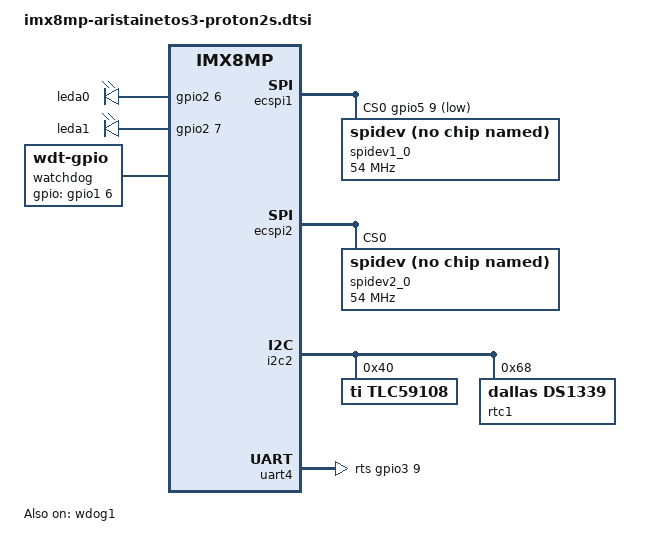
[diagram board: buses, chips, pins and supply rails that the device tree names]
// SPDX-License-Identifier: (GPL-2.0+ OR MIT)
/*
 * Copyright (C) 2024 Heiko Schocher <hs@denx.de>
 */

#include <dt-bindings/gpio/gpio.h>

&{/} {
	gpio-leds {
		compatible = "gpio-leds";
		pinctrl-names = "default";
		pinctrl-0 = <&pinctrl_gpio_led>;

		leda0 {
			label = "leda0";
			gpios = <&gpio2 6 GPIO_ACTIVE_HIGH>;
			default-state = "off";
		};
		leda1 {
			label = "leda1";
			gpios = <&gpio2 7 GPIO_ACTIVE_HIGH>;
			default-state = "off";
		};
	};

	watchdog {
		/* MAX6371KA */
		pinctrl-names = "default";
		pinctrl-0 = <&pinctrl_watchdog_gpio>;
		compatible = "linux,wdt-gpio";
		always-running;
		gpios = <&gpio1 6 GPIO_ACTIVE_HIGH>;
		hw_algo = "level";
		/* Reset triggers in 3..9 seconds */
		hw_margin_ms = <1500>;
		status = "okay";
	};
};

&dp83867_0 {
	status = "disabled";
};

&eqos {
	max-speed = <100>;
};

&fec {
	status = "disabled";
};

&ecspi1{
	fsl,spi-num-chipselects = <1>;
	pinctrl-0 = <&pinctrl_ecspi1>;
	cs-gpios = <&gpio5 9 GPIO_ACTIVE_LOW>;

	spidev1_0: spi@0 {
		compatible = "rohm,dh2228fv";
		reg = <0>;
		spi-max-frequency = <54000000>;
	};

};

&ecspi2 {
	spidev2_0: spi@0 {
		compatible = "rohm,dh2228fv";
		reg = <0>;
		spi-max-frequency = <54000000>;
	};
};

&gpio1 {
	gpio-line-names =
		"", "", "", "", "", "", "", "power",
		"", "", "", "", "", "", "", "",
		"", "", "", "", "", "", "", "",
		"", "", "", "", "", "", "", "";
};

&gpio6 {
	gpio-line-names =
		"relay0", "relay1", "relay2",
		"heater", "fan", "spare",
		"clear", "fault";
};

&i2c2 {
	tlc59108@40 {
		#address-cells = <1>;
		#size-cells = <0>;
		compatible = "ti,tlc59108";
		reg = <0x40>;

		system_red@0 {
			label = "system:red";
			reg = <0x0>;
		};

		system_green@1 {
			label = "system:green";
			reg = <0x1>;
		};

		hydrogen_green@2 {
			label = "hydrogen:green";
			reg = <0x2>;
		};

		hydrogen_red@3 {
			label = "hydrogen:red";
			reg = <0x3>;
		};

		hydrogen_blue@4 {
			label = "hydrogen:blue";
			reg = <0x4>;
		};

		moisture_red@5 {
			label = "moisture:red";
			reg = <0x5>;
		};

		moisture_green@6 {
			label = "moisture:green";
			reg = <0x6>;
		};

		moisture_blue@7 {
			label = "moisture:blue";
			reg = <0x7>;
		};
	};

	rtc1: rtc@68 {
		compatible = "dallas,ds1339";
		reg = <0x68>;
	};
};

// SER3
&uart1 {
	pinctrl-0 = <&pinctrl_uart1>;
};

// SER0
&uart2 {
	pinctrl-0 = <&pinctrl_uart2>;
};

// SER1
&uart3 {
	pinctrl-0 = <&pinctrl_uart3>;
};

// SER2
&uart4 {
	linux,rs485-enabled-at-boot-time;
	uart-has-rtscts;
	rs485-rts-active-low;
	rs485-rts-delay = <0 0>;
	rts-gpios = <&gpio3 9 GPIO_ACTIVE_HIGH>;
};

&usdhc1 {
	status = "disabled";
};

&wdog1 {
	status = "okay";
};

&iomuxc {
	pinctrl-0 = <&pinctrl_gpio_proton2s>;
};
